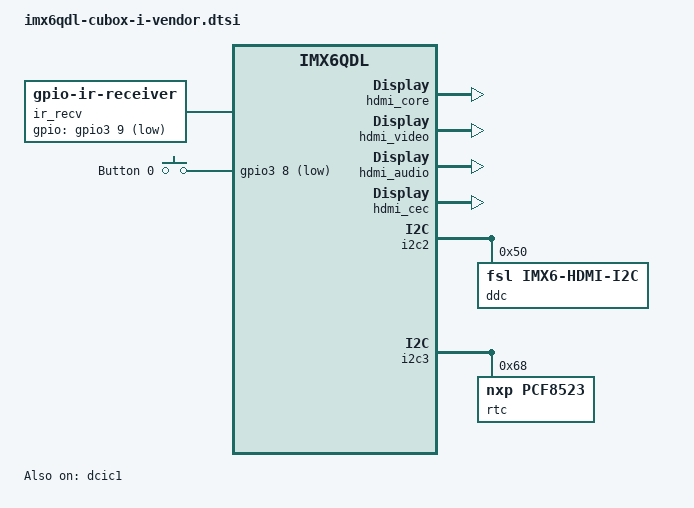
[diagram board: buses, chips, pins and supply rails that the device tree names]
/*
 * Copyright (C) 2014 Russell King
 *
 * This file is dual-licensed: you can use it either under the terms
 * of the GPL or the X11 license, at your option. Note that this dual
 * licensing only applies to this file, and not this project as a
 * whole.
 *
 *  a) This file is free software; you can redistribute it and/or
 *     modify it under the terms of the GNU General Public License as
 *     published by the Free Software Foundation; either version 2 of the
 *     License.
 *
 *     This file is distributed in the hope that it will be useful
 *     but WITHOUT ANY WARRANTY; without even the implied warranty of
 *     MERCHANTABILITY or FITNESS FOR A PARTICULAR PURPOSE.  See the
 *     GNU General Public License for more details.
 *
 * Or, alternatively
 *
 *  b) Permission is hereby granted, free of charge, to any person
 *     obtaining a copy of this software and associated documentation
 *     files (the "Software"), to deal in the Software without
 *     restriction, including without limitation the rights to use
 *     copy, modify, merge, publish, distribute, sublicense, and/or
 *     sell copies of the Software, and to permit persons to whom the
 *     Software is furnished to do so, subject to the following
 *     conditions:
 *
 *     The above copyright notice and this permission notice shall be
 *     included in all copies or substantial portions of the Software.
 *
 *     THE SOFTWARE IS PROVIDED , WITHOUT WARRANTY OF ANY KIND
 *     EXPRESS OR IMPLIED, INCLUDING BUT NOT LIMITED TO THE WARRANTIES
 *     OF MERCHANTABILITY, FITNESS FOR A PARTICULAR PURPOSE AND
 *     NONINFRINGEMENT. IN NO EVENT SHALL THE AUTHORS OR COPYRIGHT
 *     HOLDERS BE LIABLE FOR ANY CLAIM, DAMAGES OR OTHER LIABILITY
 *     WHETHER IN AN ACTION OF CONTRACT, TORT OR OTHERWISE, ARISING
 *     FROM, OUT OF OR IN CONNECTION WITH THE SOFTWARE OR THE USE OR
 *     OTHER DEALINGS IN THE SOFTWARE.
 */

/ {
	aliases {
		mmc0 = &usdhc2;
		mmc1 = &usdhc1;
		mxcfb0 = &mxcfb1;
	};

	chosen {
		bootargs = "quiet console=ttymxc0,115200 root=/dev/mmcblk0p2 rw";
		stdout-path = &uart1;
	};

	ir_recv: ir-receiver {
		compatible = "gpio-ir-receiver";
		gpios = <&gpio3 9 1>;
		pinctrl-names = "default";
		pinctrl-0 = <&pinctrl_cubox_i_ir>;
		linux,rc-map-name = "rc-rc6-mce";
	};

	mxcfb1: fb@0 {
		compatible = "fsl,mxc_sdc_fb";
		disp_dev = "hdmi";
		interface_pix_fmt = "RGB24";
		mode_str ="1920x1080M@60";
		default_bpp = <32>;
		int_clk = <0>;
		late_init = <0>;
		status = "okay";
	};

	gpio-keys {
		compatible = "gpio-keys";
		pinctrl-0 = <&pinctrl_gpio_key>;
		pinctrl-names = "default";

		button_0 {
			label = "Button 0";
			gpios = <&gpio3 8 GPIO_ACTIVE_LOW>;
			linux,code = <BTN_0>;
		};
	};

        sound-hdmi {
                compatible = "fsl,imx6q-audio-hdmi",
                             "fsl,imx-audio-hdmi";
                model = "imx-audio-hdmi";
                hdmi-controller = <&hdmi_audio>;
        };
};

&dcic1 {
	dcic_id = <0>;
	dcic_mux = "dcic-hdmi";
	status = "okay";
};

&hdmi {
	status = "disabled";
};

&hdmi_core {
	ipu_id = <0>;
	disp_id = <0>;
	status = "okay";
};

&hdmi_video {
	fsl,phy_reg_vlev = <0x0294>;
	fsl,phy_reg_cksymtx = <0x800d>;
	status = "okay";
};

&hdmi_audio {
	status = "okay";
};

&hdmi_cec {
	pinctrl-names = "default";
	pinctrl-0 = <&pinctrl_cubox_i_hdmi>;
	status = "okay";
};

&i2c2 {
	ddc@50 {
		compatible = "fsl,imx6-hdmi-i2c";
		reg = <0x50>;
	};
};

&i2c3 {
	rtc@68 {
		compatible = "nxp,pcf8523";
		reg = <0x68>;
		nxp,12p5_pf;
	};
};
